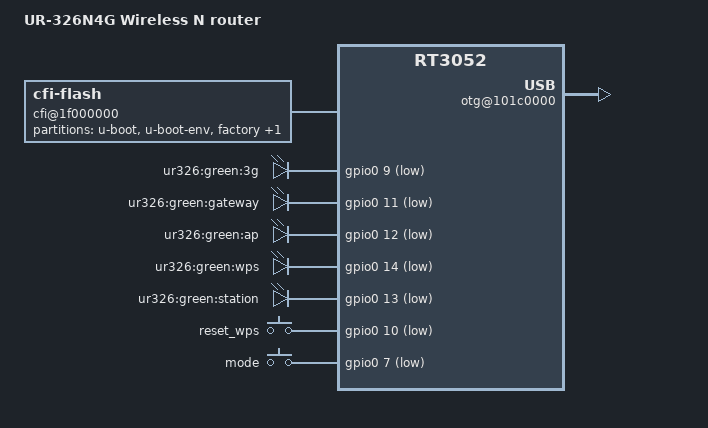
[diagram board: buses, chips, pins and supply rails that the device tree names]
/dts-v1/;

/include/ "rt3050.dtsi"

/ {
	compatible = "UR-326N4G", "ralink,rt3052-soc";
	model = "UR-326N4G Wireless N router";

	pinctrl {
		state_default: pinctrl0 {
			gpio {
				ralink,group = "spi", "i2c", "jtag", "rgmii", "mdio", "uartf";
				ralink,function = "gpio";
			};
		};
	};

	cfi@1f000000 {
		compatible = "cfi-flash";
		reg = <0x1f000000 0x800000>;

		bank-width = <2>;
		device-width = <2>;
		#address-cells = <1>;
		#size-cells = <1>;

		partition@0 {
			label = "u-boot";
			reg = <0x0 0x30000>;
			read-only;
		};

		partition@30000 {
			label = "u-boot-env";
			reg = <0x30000 0x10000>;
			read-only;
		};

		factory: partition@40000 {
			label = "factory";
			reg = <0x40000 0x10000>;
			read-only;
		};

		partition@50000 {
			label = "firmware";
			reg = <0x50000 0x3b0000>;
		};
	};

	ethernet@10100000 {
		mtd-mac-address = <&factory 0x4004>;
	};

	esw@10110000 {
		ralink,portmap = <0x2f>;
	};

	gpio-leds {
		compatible = "gpio-leds";
		3g {
			label = "ur326:green:3g";
			gpios = <&gpio0 9 1>;
		};
		gateway {
			label = "ur326:green:gateway";
			gpios = <&gpio0 11 1>;
		};
		ap {
			label = "ur326:green:ap";
			gpios = <&gpio0 12 1>;
		};
		wps {
			label = "ur326:green:wps";
			gpios = <&gpio0 14 1>;
		};
		station {
			label = "ur326:green:station";
			gpios = <&gpio0 13 1>;
		};
	};

	gpio-keys-polled {
		compatible = "gpio-keys-polled";
		#address-cells = <1>;
		#size-cells = <0>;
		poll-interval = <20>;
		reset_wps {
			label = "reset_wps";
			gpios = <&gpio0 10 1>;
			linux,code = <0x198>;
		};
		mode {
			label = "mode";
			gpios = <&gpio0 7 1>;
			linux,code = <0x32>;
		};
	};

	otg@101c0000 {
		status = "okay";
	};
};
